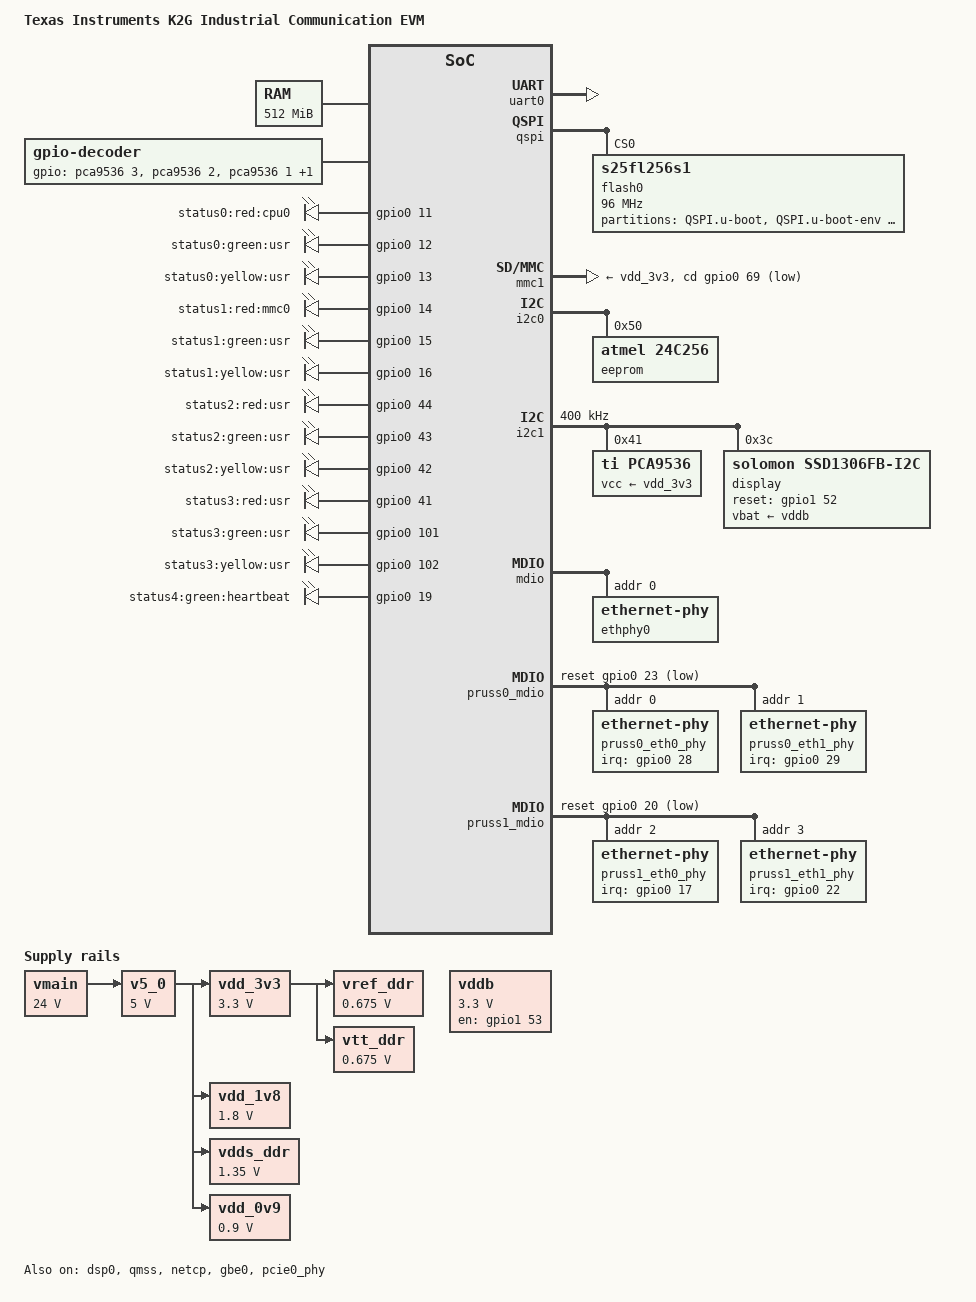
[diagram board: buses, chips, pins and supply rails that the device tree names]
// SPDX-License-Identifier: GPL-2.0
/*
 * Device Tree Source for K2G Industrial Communication Engine EVM
 *
 * Copyright (C) 2017 Texas Instruments Incorporated - http://www.ti.com/
 */
/dts-v1/;

#include "keystone-k2g.dtsi"
#include <dt-bindings/net/ti-dp83867.h>

/ {
	compatible = "ti,k2g-ice", "ti,k2g", "ti,keystone";
	model = "Texas Instruments K2G Industrial Communication EVM";

	memory@800000000 {
		device_type = "memory";
		reg = <0x00000008 0x00000000 0x00000000 0x20000000>;
	};

	reserved-memory {
		#address-cells = <2>;
		#size-cells = <2>;
		ranges;

		dsp_common_mpm_memory: dsp-common-mpm-memory@81d000000 {
			compatible = "ti,keystone-dsp-mem-pool";
			reg = <0x00000008 0x1d000000 0x00000000 0x2800000>;
			no-map;
			status = "okay";
		};

		dsp_common_memory: dsp-common-memory@81f800000 {
			compatible = "shared-dma-pool";
			reg = <0x00000008 0x1f800000 0x00000000 0x800000>;
			reusable;
			status = "okay";
		};
	};

	aliases {
		ethernet1 = &pruss0_emac0;
		ethernet2 = &pruss0_emac1;
		ethernet3 = &pruss1_emac0;
		ethernet4 = &pruss1_emac1;
	};

	vmain: fixedregulator-vmain {
		compatible = "regulator-fixed";
		regulator-name = "vmain_fixed";
		regulator-min-microvolt = <24000000>;
		regulator-max-microvolt = <24000000>;
		regulator-always-on;
	};

	v5_0: fixedregulator-v5_0 {
		/* TPS54531 */
		compatible = "regulator-fixed";
		regulator-name = "v5_0_fixed";
		regulator-min-microvolt = <5000000>;
		regulator-max-microvolt = <5000000>;
		vin-supply = <&vmain>;
		regulator-always-on;
	};

	vdd_3v3: fixedregulator-vdd_3v3 {
		/* TLV62084 */
		compatible = "regulator-fixed";
		regulator-name = "vdd_3v3_fixed";
		regulator-min-microvolt = <3300000>;
		regulator-max-microvolt = <3300000>;
		vin-supply = <&v5_0>;
		regulator-always-on;
	};

	vdd_1v8: fixedregulator-vdd_1v8 {
		/* TLV62084 */
		compatible = "regulator-fixed";
		regulator-name = "vdd_1v8_fixed";
		regulator-min-microvolt = <1800000>;
		regulator-max-microvolt = <1800000>;
		vin-supply = <&v5_0>;
		regulator-always-on;
	};

	vdds_ddr: fixedregulator-vdds_ddr {
		/* TLV62080 */
		compatible = "regulator-fixed";
		regulator-name = "vdds_ddr_fixed";
		regulator-min-microvolt = <1350000>;
		regulator-max-microvolt = <1350000>;
		vin-supply = <&v5_0>;
		regulator-always-on;
	};

	vref_ddr: fixedregulator-vref_ddr {
		/* LP2996A */
		compatible = "regulator-fixed";
		regulator-name = "vref_ddr_fixed";
		regulator-min-microvolt = <675000>;
		regulator-max-microvolt = <675000>;
		vin-supply = <&vdd_3v3>;
		regulator-always-on;
	};

	vtt_ddr: fixedregulator-vtt_ddr {
		/* LP2996A */
		compatible = "regulator-fixed";
		regulator-name = "vtt_ddr_fixed";
		regulator-min-microvolt = <675000>;
		regulator-max-microvolt = <675000>;
		vin-supply = <&vdd_3v3>;
		regulator-always-on;
	};

	vdd_0v9: fixedregulator-vdd_0v9 {
		/* TPS62180 */
		compatible = "regulator-fixed";
		regulator-name = "vdd_0v9_fixed";
		regulator-min-microvolt = <900000>;
		regulator-max-microvolt = <900000>;
		vin-supply = <&v5_0>;
		regulator-always-on;
	};

	vddb: fixedregulator-vddb {
		/* TPS22945 */
		compatible = "regulator-fixed";
		regulator-name = "vddb_fixed";
		regulator-min-microvolt = <3300000>;
		regulator-max-microvolt = <3300000>;

		gpio = <&gpio1 53 GPIO_ACTIVE_HIGH>;
		enable-active-high;
	};

	gpio-decoder {
		compatible = "gpio-decoder";
		gpios = <&pca9536 3 GPIO_ACTIVE_HIGH>,
			<&pca9536 2 GPIO_ACTIVE_HIGH>,
			<&pca9536 1 GPIO_ACTIVE_HIGH>,
			<&pca9536 0 GPIO_ACTIVE_HIGH>;
		linux,axis = <0>; /* ABS_X */
		decoder-max-value = <9>;
	};

	leds1 {
		compatible = "gpio-leds";
		pinctrl-names = "default";
		pinctrl-0 = <&user_leds>;

		led0 {
			label = "status0:red:cpu0";
			gpios = <&gpio0 11 GPIO_ACTIVE_HIGH>;
			default-state = "off";
			linux,default-trigger = "cpu0";
		};

		led1 {
			label = "status0:green:usr";
			gpios = <&gpio0 12 GPIO_ACTIVE_HIGH>;
			default-state = "off";
		};

		led2 {
			label = "status0:yellow:usr";
			gpios = <&gpio0 13 GPIO_ACTIVE_HIGH>;
			default-state = "off";
		};

		led3 {
			label = "status1:red:mmc0";
			gpios = <&gpio0 14 GPIO_ACTIVE_HIGH>;
			default-state = "off";
			linux,default-trigger = "mmc0";
		};

		led4 {
			label = "status1:green:usr";
			gpios = <&gpio0 15 GPIO_ACTIVE_HIGH>;
			default-state = "off";
		};

		led5 {
			label = "status1:yellow:usr";
			gpios = <&gpio0 16 GPIO_ACTIVE_HIGH>;
			default-state = "off";
		};

		led6 {
			label = "status2:red:usr";
			gpios = <&gpio0 44 GPIO_ACTIVE_HIGH>;
			default-state = "off";
		};

		led7 {
			label = "status2:green:usr";
			gpios = <&gpio0 43 GPIO_ACTIVE_HIGH>;
			default-state = "off";
		};

		led8 {
			label = "status2:yellow:usr";
			gpios = <&gpio0 42 GPIO_ACTIVE_HIGH>;
			default-state = "off";
		};

		led9 {
			label = "status3:red:usr";
			gpios = <&gpio0 41 GPIO_ACTIVE_HIGH>;
			default-state = "off";
		};

		led10 {
			label = "status3:green:usr";
			gpios = <&gpio0 101 GPIO_ACTIVE_HIGH>;
			default-state = "off";
		};

		led11 {
			label = "status3:yellow:usr";
			gpios = <&gpio0 102 GPIO_ACTIVE_HIGH>;
			default-state = "off";
		};

		led12 {
			label = "status4:green:heartbeat";
			gpios = <&gpio0 19 GPIO_ACTIVE_HIGH>;
			linux,default-trigger = "heartbeat";
		};
	};

	/* Dual-MAC Ethernet application node on PRU-ICSS0 */
	pruss0_eth {
		compatible = "ti,k2g-prueth";
		prus = <&pru0_0>, <&pru0_1>;
		firmware-name = "ti-pruss/k2g-pru0-prueth-fw.elf",
				"ti-pruss/k2g-pru1-prueth-fw.elf";
		ti,pruss-gp-mux-sel = <2>,	/* MII, needed for PR0_MII0 & PR0_MII1 */
				      <2>;	/* MII, needed for PR0_MII1 & PR0_MII1 */
		sram = <&msm_ram>;
		interrupt-parent = <&pruss0_intc>;
		mii-rt = <&pruss0_mii_rt>;
		iep = <&pruss0_iep>;

		pruss0_emac0: ethernet-mii0 {
			phy-handle = <&pruss0_eth0_phy>;
			phy-mode = "mii";
			interrupts = <20>, <22>;
			interrupt-names = "rx", "tx";
			/* Filled in by bootloader */
			local-mac-address = [00 00 00 00 00 00];
		};

		pruss0_emac1: ethernet-mii1 {
			phy-handle = <&pruss0_eth1_phy>;
			phy-mode = "mii";
			interrupts = <21>, <23>;
			interrupt-names = "rx", "tx";
			/* Filled in by bootloader */
			local-mac-address = [00 00 00 00 00 00];
		};
	};

	/* Dual-MAC Ethernet application node on PRU-ICSS1 */
	pruss1_eth {
		compatible = "ti,k2g-prueth";
		prus = <&pru1_0>, <&pru1_1>;
		firmware-name = "ti-pruss/k2g-pru0-prueth-fw.elf",
				"ti-pruss/k2g-pru1-prueth-fw.elf";
		ti,pruss-gp-mux-sel = <2>,	/* MII, needed for PR1_MII0 & PR1_MII1 */
				      <2>;	/* MII, needed for PR1_MII1 & PR1_MII1 */
		sram = <&msm_ram>;
		interrupt-parent = <&pruss1_intc>;
		mii-rt = <&pruss1_mii_rt>;
		iep = <&pruss1_iep>;

		pruss1_emac0: ethernet-mii0 {
			phy-handle = <&pruss1_eth0_phy>;
			phy-mode = "mii";
			interrupts = <20>, <22>;
			interrupt-names = "rx", "tx";
			/* Filled in by bootloader */
			local-mac-address = [00 00 00 00 00 00];
		};

		pruss1_emac1: ethernet-mii1 {
			phy-handle = <&pruss1_eth1_phy>;
			phy-mode = "mii";
			interrupts = <21>, <23>;
			interrupt-names = "rx", "tx";
			/* Filled in by bootloader */
			local-mac-address = [00 00 00 00 00 00];
		};
	};
};

&k2g_pinctrl {
	uart0_pins: pinmux_uart0_pins {
		pinctrl-single,pins = <
			K2G_CORE_IOPAD(0x11cc) (BUFFER_CLASS_B | PULL_DISABLE | MUX_MODE0)	/* uart0_rxd.uart0_rxd */
			K2G_CORE_IOPAD(0x11d0) (BUFFER_CLASS_B | PIN_PULLDOWN | MUX_MODE0)	/* uart0_txd.uart0_txd */
		>;
	};

	qspi_pins: pinmux_qspi_pins {
		pinctrl-single,pins = <
			K2G_CORE_IOPAD(0x1204) (BUFFER_CLASS_B | PULL_DISABLE | MUX_MODE0) /* qspi_clk.qspi_clk */
			K2G_CORE_IOPAD(0x1208) (BUFFER_CLASS_B | PULL_DISABLE | MUX_MODE0) /* qspi_rclk.qspi_rclk */
			K2G_CORE_IOPAD(0x120c) (BUFFER_CLASS_B | PULL_DISABLE | MUX_MODE0) /* qspi_d0.qspi_d0 */
			K2G_CORE_IOPAD(0x1210) (BUFFER_CLASS_B | PULL_DISABLE | MUX_MODE0) /* qspi_d1.qspi_d1 */
			K2G_CORE_IOPAD(0x1214) (BUFFER_CLASS_B | PULL_DISABLE | MUX_MODE0) /* qspi_d2.qspi_d2 */
			K2G_CORE_IOPAD(0x1218) (BUFFER_CLASS_B | PULL_DISABLE | MUX_MODE0) /* qspi_d3.qspi_d3 */
			K2G_CORE_IOPAD(0x121c) (BUFFER_CLASS_B | PULL_DISABLE | MUX_MODE0) /* qspi_csn0.qspi_csn0 */
		>;
	};

	mmc1_pins: pinmux_mmc1_pins {
		pinctrl-single,pins = <
			K2G_CORE_IOPAD(0x10FC) (BUFFER_CLASS_B | PIN_PULLUP | MUX_MODE0)	/* mmc1_dat3.mmc1_dat3 */
			K2G_CORE_IOPAD(0x1100) (BUFFER_CLASS_B | PIN_PULLUP | MUX_MODE0)	/* mmc1_dat2.mmc1_dat2 */
			K2G_CORE_IOPAD(0x1104) (BUFFER_CLASS_B | PIN_PULLUP | MUX_MODE0)	/* mmc1_dat1.mmc1_dat1 */
			K2G_CORE_IOPAD(0x1108) (BUFFER_CLASS_B | PIN_PULLUP | MUX_MODE0)	/* mmc1_dat0.mmc1_dat0 */
			K2G_CORE_IOPAD(0x110C) (BUFFER_CLASS_B | PIN_PULLUP | MUX_MODE0)	/* mmc1_clk.mmc1_clk */
			K2G_CORE_IOPAD(0x1110) (BUFFER_CLASS_B | PIN_PULLUP | MUX_MODE0)	/* mmc1_cmd.mmc1_cmd */
			K2G_CORE_IOPAD(0x1114) (BUFFER_CLASS_B | PIN_PULLUP | MUX_MODE3)	/* mmc1_sdcd.gpio0_69 */
			K2G_CORE_IOPAD(0x1118) (BUFFER_CLASS_B | PIN_PULLUP | MUX_MODE0)	/* mmc1_sdwp.mmc1_sdwp */
			K2G_CORE_IOPAD(0x111C) (BUFFER_CLASS_B | PIN_PULLUP | MUX_MODE0)	/* mmc1_pow.mmc1_pow */
		>;
	};

	i2c0_pins: pinmux_i2c0_pins {
		pinctrl-single,pins = <
			K2G_CORE_IOPAD(0x137c) (BUFFER_CLASS_B | PIN_PULLUP | MUX_MODE0)	/* i2c0_scl.i2c0_scl */
			K2G_CORE_IOPAD(0x1380) (BUFFER_CLASS_B | PIN_PULLUP | MUX_MODE0)	/* i2c0_sda.i2c0_sda */
		>;
	};

	i2c1_pins: pinmux_i2c1_pins {
		pinctrl-single,pins = <
			K2G_CORE_IOPAD(0x1384) (BUFFER_CLASS_B | PIN_PULLUP | MUX_MODE0)	/* i2c1_scl.i2c1_scl */
			K2G_CORE_IOPAD(0x1388) (BUFFER_CLASS_B | PIN_PULLUP | MUX_MODE0)	/* i2c1_sda.i2c1_sda */
		>;
	};

	user_leds: pinmux_user_leds {
		pinctrl-single,pins = <
			K2G_CORE_IOPAD(0x102c) (BUFFER_CLASS_B | PIN_PULLUP | MUX_MODE3)	/* gpmc_ad11.gpio0_11 */
			K2G_CORE_IOPAD(0x1030) (BUFFER_CLASS_B | PIN_PULLUP | MUX_MODE3)	/* gpmc_ad12.gpio0_12 */
			K2G_CORE_IOPAD(0x1034) (BUFFER_CLASS_B | PIN_PULLUP | MUX_MODE3)	/* gpmc_ad13.gpio0_13 */
			K2G_CORE_IOPAD(0x1038) (BUFFER_CLASS_B | PIN_PULLUP | MUX_MODE3)	/* gpmc_ad14.gpio0_14 */
			K2G_CORE_IOPAD(0x103c) (BUFFER_CLASS_B | PIN_PULLUP | MUX_MODE3)	/* gpmc_ad15.gpio0_15 */
			K2G_CORE_IOPAD(0x1040) (BUFFER_CLASS_B | PIN_PULLUP | MUX_MODE3)	/* gpmc_clk.gpio0_16 */
			K2G_CORE_IOPAD(0x104c) (BUFFER_CLASS_B | PIN_PULLUP | MUX_MODE3)	/* gpmc_wen.gpio0_19 */
			K2G_CORE_IOPAD(0x10b0) (BUFFER_CLASS_B | PIN_PULLUP | MUX_MODE3)	/* dss_data9.gpio0_44 */
			K2G_CORE_IOPAD(0x10ac) (BUFFER_CLASS_B | PIN_PULLUP | MUX_MODE3)	/* dss_data10.gpio0_43 */
			K2G_CORE_IOPAD(0x10a8) (BUFFER_CLASS_B | PIN_PULLUP | MUX_MODE3)	/* dss_data11.gpio0_42 */
			K2G_CORE_IOPAD(0x10a4) (BUFFER_CLASS_B | PIN_PULLUP | MUX_MODE3)	/* dss_data12.gpio0_41 */
			K2G_CORE_IOPAD(0x11b8) (BUFFER_CLASS_B | PIN_PULLUP | MUX_MODE3)	/* spi2_scsn0.gpio0_101 */
			K2G_CORE_IOPAD(0x11bc) (BUFFER_CLASS_B | PIN_PULLUP | MUX_MODE3)	/* spi2_scsn1.gpio0_102 */
		>;
	};

	emac_pins: pinmux_emac_pins {
		pinctrl-single,pins = <
			K2G_CORE_IOPAD(0x113C) (BUFFER_CLASS_D | PULL_DISABLE | MUX_MODE1)	/* MII_RXD1.RGMII_RXD1 */
			K2G_CORE_IOPAD(0x1138) (BUFFER_CLASS_D | PULL_DISABLE | MUX_MODE1)	/* MII_RXD2.RGMII_RXD2 */
			K2G_CORE_IOPAD(0x1134) (BUFFER_CLASS_D | PULL_DISABLE | MUX_MODE1)	/* MII_RXD3.RGMII_RXD3 */
			K2G_CORE_IOPAD(0x1140) (BUFFER_CLASS_D | PULL_DISABLE | MUX_MODE1)	/* MII_RXD0.RGMII_RXD0 */
			K2G_CORE_IOPAD(0x1178) (BUFFER_CLASS_D | PULL_DISABLE | MUX_MODE1)	/* MII_TXD0.RGMII_TXD0 */
			K2G_CORE_IOPAD(0x1174) (BUFFER_CLASS_D | PULL_DISABLE | MUX_MODE1)	/* MII_TXD1.RGMII_TXD1 */
			K2G_CORE_IOPAD(0x1170) (BUFFER_CLASS_D | PULL_DISABLE | MUX_MODE1)	/* MII_TXD2.RGMII_TXD2 */
			K2G_CORE_IOPAD(0x116C) (BUFFER_CLASS_D | PULL_DISABLE | MUX_MODE1)	/* MII_TXD3.RGMII_TXD3 */
			K2G_CORE_IOPAD(0x1154) (BUFFER_CLASS_D | PULL_DISABLE | MUX_MODE1)	/* MII_TXCLK.RGMII_TXC */
			K2G_CORE_IOPAD(0x117C) (BUFFER_CLASS_D | PULL_DISABLE | MUX_MODE1)	/* MII_TXEN.RGMII_TXCTL */
			K2G_CORE_IOPAD(0x1120) (BUFFER_CLASS_D | PULL_DISABLE | MUX_MODE1)	/* MII_RXCLK.RGMII_RXC */
			K2G_CORE_IOPAD(0x1144) (BUFFER_CLASS_D | PULL_DISABLE | MUX_MODE1)	/* MII_RXDV.RGMII_RXCTL */
		>;
	};

	mdio_pins: pinmux_mdio_pins {
		pinctrl-single,pins = <
			K2G_CORE_IOPAD(0x118C) (BUFFER_CLASS_B | PULL_DISABLE | MUX_MODE0)	/* MDIO_CLK.MDIO_CLK */
			K2G_CORE_IOPAD(0x1188) (BUFFER_CLASS_B | PULL_DISABLE | MUX_MODE0)	/* MDIO_DATA.MDIO_DATA */
		>;
	};

	pruss0_mdio_default: pruss0_mdio_default {
		pinctrl-single,pins = <
			K2G_CORE_IOPAD(0x12cc) (BUFFER_CLASS_B | PULL_DISABLE | MUX_MODE0)	/* pr0_mdio_data.pr0_mdio_data */
			K2G_CORE_IOPAD(0x12d0) (BUFFER_CLASS_B | PIN_PULLDOWN | MUX_MODE0)	/* pr0_mdio_mdclk.pr0_mdio_mdclk */
			K2G_CORE_IOPAD(0x105c) (BUFFER_CLASS_B | PULL_DISABLE | MUX_MODE3)	/* gpmc_wait1.gpio0_23 (pr0_mii0_resetn) */
			K2G_CORE_IOPAD(0x1070) (BUFFER_CLASS_B | PIN_PULLUP | MUX_MODE3)	/* gpmc_csn2.gpio0_28 (pr0_mii0_intn) */
			K2G_CORE_IOPAD(0x1054) (BUFFER_CLASS_B | PULL_DISABLE | MUX_MODE3)	/* gpmc_be1n.gpio0_21 (pr0_mii1_resetn) */
			K2G_CORE_IOPAD(0x1074) (BUFFER_CLASS_B | PIN_PULLUP | MUX_MODE3)	/* gpmc_csn3.gpio0_29 (pr0_mii1_intn) */
		>;
	};

	pruss1_mdio_default: pruss1_mdio_default {
		pinctrl-single,pins = <
			K2G_CORE_IOPAD(0x1374) (BUFFER_CLASS_B | PULL_DISABLE | MUX_MODE0)	/* pr1_mdio_data.pr1_mdio_data */
			K2G_CORE_IOPAD(0x1378) (BUFFER_CLASS_B | PIN_PULLDOWN | MUX_MODE0)	/* pr1_mdio_mdclk.pr1_mdio_mdclk */
			K2G_CORE_IOPAD(0x1050) (BUFFER_CLASS_B | PULL_DISABLE | MUX_MODE3)	/* gpmc_be0ncle.gpio0_20 (pr1_mii0_resetn) */
			K2G_CORE_IOPAD(0x1044) (BUFFER_CLASS_B | PIN_PULLUP | MUX_MODE3)	/* gpmc_advnale.gpio0_17 (pr1_mii0_intn) */
			K2G_CORE_IOPAD(0x1060) (BUFFER_CLASS_B | PULL_DISABLE | MUX_MODE3)	/* gpmc_wpn.gpio0_24 (pr1_mii1_resetn) */
			K2G_CORE_IOPAD(0x1088) (BUFFER_CLASS_B | PIN_PULLUP | MUX_MODE3)	/* gpmc_wait0.gpio0_22 (pr1_mii1_intn) */
		>;
	};

	pruss0_eth_default: pruss0_eth_default {
		pinctrl-single,pins = <
			/* PRUSS0 External Mux routing */
			K2G_CORE_IOPAD(0x11d4) (BUFFER_CLASS_B | MUX_MODE3)			/* uart0_ctsn.gpio0_106 */
			K2G_CORE_IOPAD(0x11d8) (BUFFER_CLASS_B | MUX_MODE3)			/* uart0_rtsn.gpio0_107 */
			K2G_CORE_IOPAD(0x11fc) (BUFFER_CLASS_B | MUX_MODE3)			/* dcan0_rx.gpio1_57 */
			K2G_CORE_IOPAD(0x1200) (BUFFER_CLASS_B | MUX_MODE3)			/* dcan0_tx.gpio1_56 */
			K2G_CORE_IOPAD(0x1224) (BUFFER_CLASS_B | MUX_MODE3)			/* qspi_csn2.gpio1_66 */
			K2G_CORE_IOPAD(0x1228) (BUFFER_CLASS_B | MUX_MODE3)			/* qspi_csn3.gpio1_67 */

			/* PRUSS0 PRU0 Ethernet */
			K2G_CORE_IOPAD(0x122c) (BUFFER_CLASS_B | PULL_DISABLE | MUX_MODE1)	/* pr0_pru0_gpo0.pr0_pru0_gpi0 (pr0_mii0_rxd0) */
			K2G_CORE_IOPAD(0x1230) (BUFFER_CLASS_B | PULL_DISABLE | MUX_MODE1)	/* pr0_pru0_gpo1.pr0_pru0_gpi1 (pr0_mii0_rxd1) */
			K2G_CORE_IOPAD(0x1234) (BUFFER_CLASS_B | PULL_DISABLE | MUX_MODE1)	/* pr0_pru0_gpo2.pr0_pru0_gpi2 (pr0_mii0_rxd2) */
			K2G_CORE_IOPAD(0x1238) (BUFFER_CLASS_B | PULL_DISABLE | MUX_MODE1)	/* pr0_pru0_gpo3.pr0_pru0_gpi3 (pr0_mii0_rxd3) */
			K2G_CORE_IOPAD(0x123c) (BUFFER_CLASS_B | PULL_DISABLE | MUX_MODE1)	/* pr0_pru0_gpo4.pr0_pru0_gpi4 (pr0_mii0_rxdv) */
			K2G_CORE_IOPAD(0x1240) (BUFFER_CLASS_B | PULL_DISABLE | MUX_MODE1)	/* pr0_pru0_gpo5.pr0_pru0_gpi5 (pr0_mii0_rxer) */
			K2G_CORE_IOPAD(0x1244) (BUFFER_CLASS_B | MUX_MODE1)			/* pr0_pru0_gpo6.pr0_pru0_gpi6 (pr0_mii_mr0_clk) */

			K2G_CORE_IOPAD(0x124c) (BUFFER_CLASS_B | MUX_MODE1)			/* pr0_pru0_gpo8.pr0_pru0_gpi8 (pr0_mii0_rxlink) */
			K2G_CORE_IOPAD(0x1250) (BUFFER_CLASS_B | PULL_DISABLE | MUX_MODE1)	/* pr0_pru0_gpo9.pr0_pru0_gpi9 (pr0_mii0_col) */
			K2G_CORE_IOPAD(0x1254) (BUFFER_CLASS_B | PULL_DISABLE | MUX_MODE1)	/* pr0_pru0_gpo10.pr0_pru0_gpi10 (pr0_mii0_crs) */

			K2G_CORE_IOPAD(0x12a8) (BUFFER_CLASS_B | MUX_MODE0)			/* pr0_pru1_gpo11.pr0_pru1_gpo11 (pr0_mii0_txd0) */
			K2G_CORE_IOPAD(0x12ac) (BUFFER_CLASS_B | MUX_MODE0)			/* pr0_pru1_gpo12.pr0_pru1_gpo12 (pr0_mii0_txd1) */
			K2G_CORE_IOPAD(0x12b0) (BUFFER_CLASS_B | MUX_MODE0)			/* pr0_pru1_gpo13.pr0_pru1_gpo13 (pr0_mii0_txd2) */
			K2G_CORE_IOPAD(0x12b4) (BUFFER_CLASS_B | MUX_MODE0)			/* pr0_pru1_gpo14.pr0_pru1_gpo14 (pr0_mii0_txd3) */
			K2G_CORE_IOPAD(0x12b8) (BUFFER_CLASS_B | MUX_MODE0)			/* pr0_pru1_gpo15.pr0_pru1_gpo15 (pr0_mii0_txen) */
			K2G_CORE_IOPAD(0x12bc) (BUFFER_CLASS_B | MUX_MODE1)			/* pr0_pru1_gpo16.pr0_pru1_gpo16 (pr0_mii_mt0_clk) */

			/* PRUSS0 PRU1 Ethernet */
			K2G_CORE_IOPAD(0x127c) (BUFFER_CLASS_B | PULL_DISABLE | MUX_MODE1)	/* pr0_pru1_gpo0.pr0_pru1_gpi0 (pr0_mii1_rxd0) */
			K2G_CORE_IOPAD(0x1280) (BUFFER_CLASS_B | PULL_DISABLE | MUX_MODE1)	/* pr0_pru1_gpo1.pr0_pru1_gpi1 (pr0_mii1_rxd1) */
			K2G_CORE_IOPAD(0x1284) (BUFFER_CLASS_B | PULL_DISABLE | MUX_MODE1)	/* pr0_pru1_gpo2.pr0_pru1_gpi2 (pr0_mii1_rxd2) */
			K2G_CORE_IOPAD(0x1288) (BUFFER_CLASS_B | PULL_DISABLE | MUX_MODE1)	/* pr0_pru1_gpo3.pr0_pru1_gpi3 (pr0_mii1_rxd3) */
			K2G_CORE_IOPAD(0x128c) (BUFFER_CLASS_B | PULL_DISABLE | MUX_MODE1)	/* pr0_pru1_gpo4.pr0_pru1_gpi4 (pr0_mii1_rxdv) */
			K2G_CORE_IOPAD(0x1290) (BUFFER_CLASS_B | PULL_DISABLE | MUX_MODE1)	/* pr0_pru1_gpo5.pr0_pru1_gpi5 (pr0_mii1_rxer) */
			K2G_CORE_IOPAD(0x1294) (BUFFER_CLASS_B | MUX_MODE1)			/* pr0_pru1_gpo6.pr0_pru1_gpi6 (pr0_mii_mr1_clk) */

			K2G_CORE_IOPAD(0x129c) (BUFFER_CLASS_B | MUX_MODE1)			/* pr0_pru1_gpo8.pr0_pru1_gpi8 (pr0_mii1_rxlink) */
			K2G_CORE_IOPAD(0x12a0) (BUFFER_CLASS_B | PULL_DISABLE | MUX_MODE1)	/* pr0_pru1_gpo9.pr0_pru1_gpi9 (pr0_mii1_col) */
			K2G_CORE_IOPAD(0x12a4) (BUFFER_CLASS_B | PULL_DISABLE | MUX_MODE1)	/* pr0_pru1_gpo10.pr0_pru1_gpi10 (pr0_mii1_crs) */

			K2G_CORE_IOPAD(0x1258) (BUFFER_CLASS_B | MUX_MODE0)			/* pr0_pru0_gpo11.pr0_pru0_gpo11 (pr0_mii1_txd0) */
			K2G_CORE_IOPAD(0x125c) (BUFFER_CLASS_B | MUX_MODE0)			/* pr0_pru0_gpo12.pr0_pru0_gpo12 (pr0_mii1_txd1) */
			K2G_CORE_IOPAD(0x1260) (BUFFER_CLASS_B | MUX_MODE0)			/* pr0_pru0_gpo13.pr0_pru0_gpo13 (pr0_mii1_txd2) */
			K2G_CORE_IOPAD(0x1264) (BUFFER_CLASS_B | MUX_MODE0)			/* pr0_pru0_gpo14.pr0_pru0_gpo14 (pr0_mii1_txd3) */
			K2G_CORE_IOPAD(0x1268) (BUFFER_CLASS_B | MUX_MODE0)			/* pr0_pru0_gpo15.pr0_pru0_gpo15 (pr0_mii1_txen) */
			K2G_CORE_IOPAD(0x126c) (BUFFER_CLASS_B | MUX_MODE1)			/* pr0_pru0_gpo16.pr0_pru0_gpo16 (pr0_mii_mt1_clk) */
		>;
	};

	pruss1_eth_default: pruss1_eth_default {
		pinctrl-single,pins = <
			/* PRUSS1 PRU0 Ethernet */
			K2G_CORE_IOPAD(0x12d4) (BUFFER_CLASS_B | PULL_DISABLE | MUX_MODE1)	/* pr1_pru0_gpo0.pr1_pru0_gpi0 (pr1_mii0_rxd0) */
			K2G_CORE_IOPAD(0x12d8) (BUFFER_CLASS_B | PULL_DISABLE | MUX_MODE1)	/* pr1_pru0_gpo1.pr1_pru0_gpi1 (pr1_mii0_rxd1) */
			K2G_CORE_IOPAD(0x12dc) (BUFFER_CLASS_B | PULL_DISABLE | MUX_MODE1)	/* pr1_pru0_gpo2.pr1_pru0_gpi2 (pr1_mii0_rxd2) */
			K2G_CORE_IOPAD(0x12e0) (BUFFER_CLASS_B | PULL_DISABLE | MUX_MODE1)	/* pr1_pru0_gpo3.pr1_pru0_gpi3 (pr1_mii0_rxd3) */
			K2G_CORE_IOPAD(0x12e4) (BUFFER_CLASS_B | PULL_DISABLE | MUX_MODE1)	/* pr1_pru0_gpo4.pr1_pru0_gpi4 (pr1_mii0_rxdv) */
			K2G_CORE_IOPAD(0x12e8) (BUFFER_CLASS_B | PULL_DISABLE | MUX_MODE1)	/* pr1_pru0_gpo5.pr1_pru0_gpi5 (pr1_mii0_rxer) */
			K2G_CORE_IOPAD(0x12ec) (BUFFER_CLASS_B | MUX_MODE1)			/* pr1_pru0_gpo6.pr1_pru0_gpi6 (pr1_mii_mr0_clk) */

			K2G_CORE_IOPAD(0x12f4) (BUFFER_CLASS_B | MUX_MODE1)			/* pr1_pru0_gpo8.pr1_pru0_gpi8 (pr1_mii0_rxlink) */
			K2G_CORE_IOPAD(0x12f8) (BUFFER_CLASS_B | PULL_DISABLE | MUX_MODE1)	/* pr1_pru0_gpo9.pr1_pru0_gpi9 (pr1_mii0_col) */
			K2G_CORE_IOPAD(0x12fc) (BUFFER_CLASS_B | PULL_DISABLE | MUX_MODE1)	/* pr1_pru0_gpo10.pr1_pru0_gpi10 (pr1_mii0_crs) */

			K2G_CORE_IOPAD(0x1350) (BUFFER_CLASS_B | MUX_MODE0)			/* pr1_pru1_gpo11.pr1_pru1_gpo11 (pr1_mii0_txd0) */
			K2G_CORE_IOPAD(0x1354) (BUFFER_CLASS_B | MUX_MODE0)			/* pr1_pru1_gpo12.pr1_pru1_gpo12 (pr1_mii0_txd1) */
			K2G_CORE_IOPAD(0x1358) (BUFFER_CLASS_B | MUX_MODE0)			/* pr1_pru1_gpo13.pr1_pru1_gpo13 (pr1_mii0_txd2) */
			K2G_CORE_IOPAD(0x135c) (BUFFER_CLASS_B | MUX_MODE0)			/* pr1_pru1_gpo14.pr1_pru1_gpo14 (pr1_mii0_txd3) */
			K2G_CORE_IOPAD(0x1360) (BUFFER_CLASS_B | MUX_MODE0)			/* pr1_pru1_gpo15.pr1_pru1_gpo15 (pr1_mii0_txen) */
			K2G_CORE_IOPAD(0x1364) (BUFFER_CLASS_B | MUX_MODE1)			/* pr1_pru1_gpo16.pr1_pru1_gpo16 (pr1_mii_mt0_clk) */

			/* PRUSS1 PRU1 Ethernet */
			K2G_CORE_IOPAD(0x1324) (BUFFER_CLASS_B | PULL_DISABLE | MUX_MODE1)	/* pr1_pru1_gpo0.pr1_pru1_gpi0 (pr1_mii1_rxd0) */
			K2G_CORE_IOPAD(0x132c) (BUFFER_CLASS_B | PULL_DISABLE | MUX_MODE1)	/* pr1_pru1_gpo2.pr1_pru1_gpi2 (pr1_mii1_rxd2) */
			K2G_CORE_IOPAD(0x1330) (BUFFER_CLASS_B | PULL_DISABLE | MUX_MODE1)	/* pr1_pru1_gpo3.pr1_pru1_gpi3 (pr1_mii1_rxd3) */
			K2G_CORE_IOPAD(0x1334) (BUFFER_CLASS_B | PULL_DISABLE | MUX_MODE1)	/* pr1_pru1_gpo4.pr1_pru1_gpi4 (pr1_mii1_rxdv) */
			K2G_CORE_IOPAD(0x1338) (BUFFER_CLASS_B | PULL_DISABLE | MUX_MODE1)	/* pr1_pru1_gpo5.pr1_pru1_gpi5 (pr1_mii1_rxer) */
			K2G_CORE_IOPAD(0x133c) (BUFFER_CLASS_B | MUX_MODE1)			/* pr1_pru1_gpo6.pr1_pru1_gpi6 (pr1_mii_mr1_clk) */

			K2G_CORE_IOPAD(0x1344) (BUFFER_CLASS_B | MUX_MODE1)			/* pr1_pru1_gpo8.pr1_pru1_gpi8 (pr1_mii1_rxlink) */
			K2G_CORE_IOPAD(0x1348) (BUFFER_CLASS_B | PULL_DISABLE | MUX_MODE1)	/* pr1_pru1_gpo9.pr1_pru1_gpi9 (pr1_mii1_col) */
			K2G_CORE_IOPAD(0x134c) (BUFFER_CLASS_B | PULL_DISABLE | MUX_MODE1)	/* pr1_pru1_gpo10.pr1_pru1_gpi10 (pr1_mii1_crs) */

			K2G_CORE_IOPAD(0x1300) (BUFFER_CLASS_B | MUX_MODE0)			/* pr1_pru0_gpo11.pr1_pru0_gpo11 (pr1_mii1_txd0) */
			K2G_CORE_IOPAD(0x1304) (BUFFER_CLASS_B | MUX_MODE0)			/* pr1_pru0_gpo12.pr1_pru0_gpo12 (pr1_mii1_txd1) */
			K2G_CORE_IOPAD(0x1308) (BUFFER_CLASS_B | MUX_MODE0)			/* pr1_pru0_gpo13.pr1_pru0_gpo13 (pr1_mii1_txd2) */
			K2G_CORE_IOPAD(0x130c) (BUFFER_CLASS_B | MUX_MODE0)			/* pr1_pru0_gpo14.pr1_pru0_gpo14 (pr1_mii1_txd3) */
			K2G_CORE_IOPAD(0x1310) (BUFFER_CLASS_B | MUX_MODE0)			/* pr1_pru0_gpo15.pr1_pru0_gpo15 (pr1_mii1_txen) */
			K2G_CORE_IOPAD(0x1314) (BUFFER_CLASS_B | MUX_MODE1)			/* pr1_pru0_gpo16.pr1_pru0_gpo16 (pr1_mii_mt1_clk) */
		>;
	};
};

&uart0 {
	pinctrl-names = "default";
	pinctrl-0 = <&uart0_pins>;
	status = "okay";
};

&dsp0 {
	memory-region = <&dsp_common_memory>;
	status = "okay";
};

&qspi {
	pinctrl-names = "default";
	pinctrl-0 = <&qspi_pins>;
	cdns,rclk-en;
	status = "okay";

	flash0: m25p80@0 {
		compatible = "s25fl256s1", "jedec,spi-nor";
		reg = <0>;
		spi-tx-bus-width = <1>;
		spi-rx-bus-width = <4>;
		spi-max-frequency = <96000000>;
		#address-cells = <1>;
		#size-cells = <1>;
		cdns,read-delay = <5>;
		cdns,tshsl-ns = <500>;
		cdns,tsd2d-ns = <500>;
		cdns,tchsh-ns = <119>;
		cdns,tslch-ns = <119>;

		partition@0 {
			label = "QSPI.u-boot";
			reg = <0x00000000 0x00100000>;
		};
		partition@1 {
			label = "QSPI.u-boot-env";
			reg = <0x00100000 0x00040000>;
		};
		partition@2 {
			label = "QSPI.skern";
			reg = <0x00140000 0x0040000>;
		};
		partition@3 {
			label = "QSPI.pmmc-firmware";
			reg = <0x00180000 0x0040000>;
		};
		partition@4 {
			label = "QSPI.kernel";
			reg = <0x001c0000 0x0800000>;
		};
		partition@5 {
			label = "QSPI.u-boot-spl-os";
			reg = <0x009c0000 0x0040000>;
		};
		partition@6 {
			label = "QSPI.file-system";
			reg = <0x00a00000 0x1600000>;
		};
	};
};

&gpio0 {
	status = "okay";
};

&gpio1 {
	status = "okay";
};

&mmc1 {
	pinctrl-names = "default";
	pinctrl-0 = <&mmc1_pins>;
	vmmc-supply = <&vdd_3v3>;
	cd-gpios = <&gpio0 69 GPIO_ACTIVE_LOW>;
	status = "okay";
};

&i2c0 {
	pinctrl-names = "default";
	pinctrl-0 = <&i2c0_pins>;
	status = "okay";

	eeprom@50 {
		compatible = "atmel,24c256";
		reg = <0x50>;
	};
};

&i2c1 {
	pinctrl-names = "default";
	pinctrl-0 = <&i2c1_pins>;
	status = "okay";
	clock-frequency = <400000>;

	pca9536: gpio@41 {
		compatible = "ti,pca9536";
		reg = <0x41>;
		gpio-controller;
		#gpio-cells = <2>;
		vcc-supply = <&vdd_3v3>;
	};

	/* osd9616p0899-10 */
	display@3c {
		compatible = "solomon,ssd1306fb-i2c";
		reg = <0x3c>;
		reset-gpios = <&gpio1 52 GPIO_ACTIVE_HIGH>;
		vbat-supply = <&vddb>;
		solomon,height = <16>;
		solomon,width = <96>;
		solomon,com-seq;
		solomon,com-invdir;
		solomon,page-offset = <0>;
		solomon,prechargep1 = <2>;
		solomon,prechargep2 = <13>;
	};
};

&qmss {
	status = "okay";
};

&knav_dmas {
	status = "okay";
};

&netcp {
	pinctrl-names = "default";
	pinctrl-0 = <&emac_pins>;
	status = "okay";
};

&mdio {
	pinctrl-names = "default";
	pinctrl-0 = <&mdio_pins>;
	status = "okay";
	ethphy0: ethernet-phy@0 {
		reg = <0>;
		ti,rx-internal-delay = <DP83867_RGMIIDCTL_2_25_NS>;
		ti,tx-internal-delay = <DP83867_RGMIIDCTL_250_PS>;
		ti,fifo-depth = <DP83867_PHYCR_FIFO_DEPTH_8_B_NIB>;
		ti,min-output-impedance;
		ti,dp83867-rxctrl-strap-quirk;
	};
};

&gbe0 {
	phy-handle = <&ethphy0>;
	phy-mode = "rgmii-id";
	status = "okay";
};

&pruss0 {
	pinctrl-0 = <&pruss0_eth_default>;
	pinctrl-names = "default";
};

&pruss1 {
	pinctrl-0 = <&pruss1_eth_default>;
	pinctrl-names = "default";
};

&pruss0_mdio {
	status = "okay";
	pinctrl-0 = <&pruss0_mdio_default>;
	pinctrl-names = "default";
	reset-gpios = <&gpio0 23 GPIO_ACTIVE_LOW>,
		      <&gpio0 21 GPIO_ACTIVE_LOW>;
	reset-delay-us = <20>;

	pruss0_eth0_phy: ethernet-phy@0 {
		reg = <0>;
		interrupt-parent = <&gpio0>;
		interrupts = <28 IRQ_TYPE_EDGE_FALLING>;
	};

	pruss0_eth1_phy: ethernet-phy@1 {
		reg = <1>;
		interrupt-parent = <&gpio0>;
		interrupts = <29 IRQ_TYPE_EDGE_FALLING>;
	};
};

&pruss1_mdio {
	status = "okay";
	pinctrl-0 = <&pruss1_mdio_default>;
	pinctrl-names = "default";
	reset-gpios = <&gpio0 20 GPIO_ACTIVE_LOW>,
		      <&gpio0 24 GPIO_ACTIVE_LOW>;
	reset-delay-us = <20>;

	pruss1_eth0_phy: ethernet-phy@2 {
		reg = <2>;
		interrupt-parent = <&gpio0>;
		interrupts = <17 IRQ_TYPE_EDGE_FALLING>;
	};

	pruss1_eth1_phy: ethernet-phy@3 {
		reg = <3>;
		interrupt-parent = <&gpio0>;
		interrupts = <22 IRQ_TYPE_EDGE_FALLING>;
	};
};

&pcie0_phy {
	status = "okay";
};

&pcie0_ep {
	status = "okay";
};
